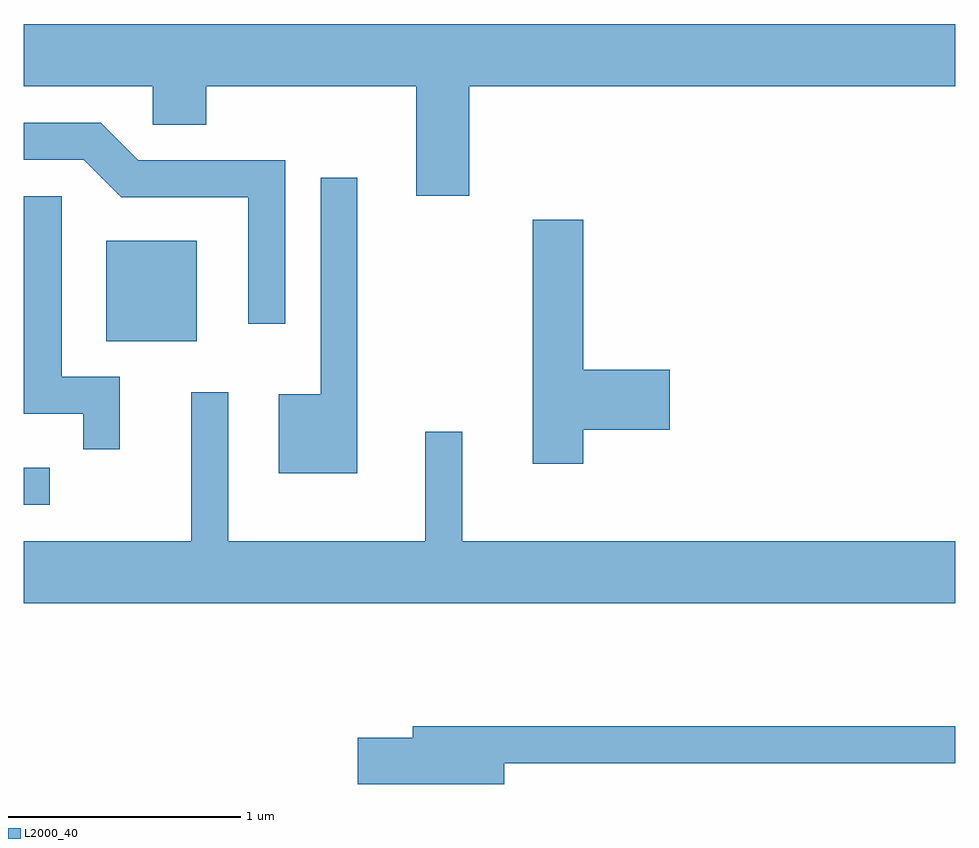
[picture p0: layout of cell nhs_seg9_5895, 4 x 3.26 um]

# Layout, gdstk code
import gdstk
lib = gdstk.Library(unit=1e-6, precision=1e-09)
def R(c, l, rs):  # rectangles x0, y0, x1, y1
    for r in rs: c.add(gdstk.rectangle(r[:2], r[2:], *l))
def P(c, l, *ps):  # polygons
    for p in ps: c.add(gdstk.Polygon(p, *l))
L2000_40 = (2000, 40)

nhs_seg9_5895 = lib.new_cell('nhs_seg9_5895')
R(nhs_seg9_5895, L2000_40, [(359.611,1970.041,359.723,1970.199), (359.966,1970.741,360.354,1971.174)])
P(nhs_seg9_5895, L2000_40, [(361.524,1971.836),(363.611,1971.836),(363.611,1972.104),(359.611,1972.104),(359.611,1971.836),(360.166,1971.836),(360.166,1971.671),(360.394,1971.671),(360.394,1971.836),(361.296,1971.836),(361.296,1971.366),(361.524,1971.366)],
  [(360.734,1971.519),(360.102,1971.519),(359.942,1971.679),(359.611,1971.679),(359.611,1971.521),(359.869,1971.521),(360.029,1971.361),(360.576,1971.361),(360.576,1970.818),(360.734,1970.818)],
  [(361.044,1971.443),(360.886,1971.443),(360.886,1970.514),(360.706,1970.514),(360.706,1970.176),(361.044,1970.176)],
  [(360.024,1970.589),(359.774,1970.589),(359.774,1971.364),(359.611,1971.364),(359.611,1970.431),(359.866,1970.431),(359.866,1970.278),(360.024,1970.278)],
  [(362.014,1970.361),(362.384,1970.361),(362.384,1970.619),(362.014,1970.619),(362.014,1971.264),(361.796,1971.264),(361.796,1970.216),(362.014,1970.216)],
  [(363.611,1969.884),(361.494,1969.884),(361.494,1970.353),(361.336,1970.353),(361.336,1969.884),(360.489,1969.884),(360.489,1970.523),(360.331,1970.523),(360.331,1969.884),(359.611,1969.884),(359.611,1969.616),(363.611,1969.616)],
  [(361.674,1968.931),(363.611,1968.931),(363.611,1969.089),(361.281,1969.089),(361.281,1969.039),(361.046,1969.039),(361.046,1968.841),(361.674,1968.841)])

lib.write_gds('nhs_seg9_5895.gds')
